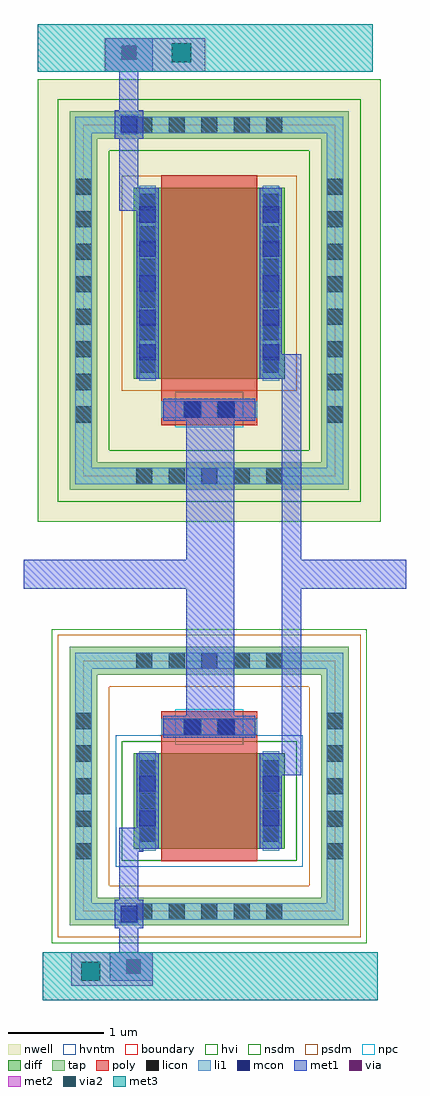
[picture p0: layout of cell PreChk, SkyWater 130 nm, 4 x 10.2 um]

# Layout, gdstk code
import gdstk
lib = gdstk.Library(unit=1e-6, precision=1e-09)
def R(c, l, rs):  # rectangles x0, y0, x1, y1
    for r in rs: c.add(gdstk.rectangle(r[:2], r[2:], *l))
def A(c, l, x, y, w, h, nx, ny, dx, dy):  # array of equal rectangles
    R(c, l, [(x+i*dx, y+j*dy, x+i*dx+w, y+j*dy+h) for i in range(nx) for j in range(ny)])
nwell = (64, 20)
diff = (65, 20)
tap = (65, 44)
poly = (66, 20)
licon = (66, 44)
li1 = (67, 20)
mcon = (67, 44)
met1 = (68, 20)
via = (68, 44)
met2 = (69, 20)
via2 = (69, 44)
met3 = (70, 20)
hvi = (75, 20)
nsdm = (93, 44)
psdm = (94, 20)
npc = (95, 20)
hvntm = (125, 20)
boundary = (235, 4)

sky130_fd_pr__pfet_g5v0d = lib.new_cell('sky130_fd_pr__pfet_g5v0d10v5_3T9SWL')
R(sky130_fd_pr__pfet_g5v0d, nwell, [(-1.79,-2.31,1.79,2.31)])
R(sky130_fd_pr__pfet_g5v0d, diff, [(-0.79,-0.82,0.79,1.18)])
R(sky130_fd_pr__pfet_g5v0d, tap, [(-1.46,-1.98,1.46,-1.69), (-1.46,-1.69,-1.17,1.69), (1.17,-1.69,1.46,1.69), (-1.46,1.69,1.46,1.98)])
R(sky130_fd_pr__pfet_g5v0d, poly, [(-0.5,-1.305,0.5,1.31)])
A(sky130_fd_pr__pfet_g5v0d, licon, -0.765, -1.92, 0.17, 0.17, 5, 2, 0.34, 3.67)
A(sky130_fd_pr__pfet_g5v0d, licon, -1.4, -1.275, 0.17, 0.17, 1, 8, 0, 0.34)
A(sky130_fd_pr__pfet_g5v0d, licon, 1.23, -1.275, 0.17, 0.17, 1, 8, 0, 0.34)
A(sky130_fd_pr__pfet_g5v0d, licon, -0.73, -0.755, 0.17, 0.17, 1, 6, 0, 0.34)
A(sky130_fd_pr__pfet_g5v0d, licon, 0.56, -0.755, 0.17, 0.17, 1, 6, 0, 0.34)
R(sky130_fd_pr__pfet_g5v0d, licon, [(-0.255,-1.225,-0.085,-1.055), (0.085,-1.225,0.255,-1.055)])
R(sky130_fd_pr__pfet_g5v0d, li1, [(-1.4,-1.92,1.4,-1.75), (-1.4,-1.75,-1.23,1.75), (1.23,-1.75,1.4,1.75), (-0.5,-1.225,0.5,-1.055), (-0.73,-0.84,-0.56,1.2), (0.56,-0.84,0.73,1.2), (-1.4,1.75,1.4,1.92)])
A(sky130_fd_pr__pfet_g5v0d, mcon, -0.73, -0.625, 0.17, 0.17, 1, 5, 0, 0.36)
A(sky130_fd_pr__pfet_g5v0d, mcon, 0.56, -0.625, 0.17, 0.17, 1, 5, 0, 0.36)
R(sky130_fd_pr__pfet_g5v0d, mcon, [(-0.265,-1.225,-0.095,-1.055), (0.095,-1.225,0.265,-1.055)])
R(sky130_fd_pr__pfet_g5v0d, met1, [(-0.48,-1.255,0.48,-1.025), (-0.76,-0.82,-0.53,1.18), (0.53,-0.82,0.76,1.18)])
R(sky130_fd_pr__pfet_g5v0d, hvi, [(-1.79,-2.31,1.79,2.31)])
R(sky130_fd_pr__pfet_g5v0d, nsdm, [(-1.585,-2.105,1.585,-1.565), (-1.585,-1.565,-1.045,1.565), (1.045,-1.565,1.585,1.565), (-1.585,1.565,1.585,2.105)])
R(sky130_fd_pr__pfet_g5v0d, psdm, [(-0.915,-0.945,0.915,1.305)])
R(sky130_fd_pr__pfet_g5v0d, npc, [(-0.355,-1.325,0.355,-0.955)])
R(sky130_fd_pr__pfet_g5v0d, boundary, [(-1.315,-1.835,1.315,1.835)])

sky130_fd_pr__nfet_g5v0d = lib.new_cell('sky130_fd_pr__nfet_g5v0d10v5_WCJU4A')
R(sky130_fd_pr__nfet_g5v0d, diff, [(-0.79,-0.655,0.79,0.345)])
R(sky130_fd_pr__nfet_g5v0d, tap, [(-1.46,-1.455,1.46,-1.165), (-1.46,-1.165,-1.17,1.165), (1.17,-1.165,1.46,1.165), (-1.46,1.165,1.46,1.455)])
R(sky130_fd_pr__nfet_g5v0d, poly, [(-0.5,-0.785,0.5,0.785)])
A(sky130_fd_pr__nfet_g5v0d, licon, -0.765, -1.395, 0.17, 0.17, 5, 2, 0.34, 2.62)
A(sky130_fd_pr__nfet_g5v0d, licon, -1.4, -0.765, 0.17, 0.17, 1, 5, 0, 0.34)
A(sky130_fd_pr__nfet_g5v0d, licon, 1.23, -0.765, 0.17, 0.17, 1, 5, 0, 0.34)
A(sky130_fd_pr__nfet_g5v0d, licon, -0.73, -0.58, 0.17, 0.17, 1, 3, 0, 0.34)
A(sky130_fd_pr__nfet_g5v0d, licon, 0.56, -0.58, 0.17, 0.17, 1, 3, 0, 0.34)
R(sky130_fd_pr__nfet_g5v0d, licon, [(-0.255,0.535,-0.085,0.705), (0.085,0.535,0.255,0.705)])
R(sky130_fd_pr__nfet_g5v0d, li1, [(-1.4,-1.395,1.4,-1.225), (-1.4,-1.225,-1.23,1.225), (1.23,-1.225,1.4,1.225), (-0.73,-0.675,-0.56,0.365), (0.56,-0.675,0.73,0.365), (-0.5,0.535,0.5,0.705), (-1.4,1.225,1.4,1.395)])
R(sky130_fd_pr__nfet_g5v0d, mcon, [(-0.73,-0.42,-0.56,-0.25), (0.56,-0.42,0.73,-0.25), (-0.73,-0.06,-0.56,0.11), (0.56,-0.06,0.73,0.11), (-0.265,0.535,-0.095,0.705), (0.095,0.535,0.265,0.705)])
R(sky130_fd_pr__nfet_g5v0d, met1, [(-0.76,-0.655,-0.53,0.345), (0.53,-0.655,0.76,0.345), (-0.48,0.505,0.48,0.735)])
R(sky130_fd_pr__nfet_g5v0d, hvi, [(-1.645,-1.64,1.645,1.64)])
R(sky130_fd_pr__nfet_g5v0d, nsdm, [(-0.915,-0.78,0.915,0.47)])
R(sky130_fd_pr__nfet_g5v0d, psdm, [(-1.585,-1.58,1.585,-1.04), (-1.585,-1.04,-1.045,1.04), (1.045,-1.04,1.585,1.04), (-1.585,1.04,1.585,1.58)])
R(sky130_fd_pr__nfet_g5v0d, npc, [(-0.355,0.435,0.355,0.805)])
R(sky130_fd_pr__nfet_g5v0d, hvntm, [(-0.975,-0.84,0.975,0.53)])
R(sky130_fd_pr__nfet_g5v0d, boundary, [(-1.315,-1.31,1.315,1.31)])

prechk = lib.new_cell('PreChk')
R(prechk, nwell, [(0.65,2.95,0.95,3.15)])
R(prechk, li1, [(-0.9,-4.45,-0.7,-4.25), (-0.9,3.8,-0.7,4)])
R(prechk, mcon, [(-0.885,-4.435,-0.715,-4.265), (-0.885,3.815,-0.715,3.985)])
R(prechk, met1, [(-1,-5.05,-0.55,-4.75), (-0.9,-4.75,-0.7,-4.5), (-0.95,-4.5,-0.65,-4.2), (-0.9,-4.2,-0.7,-3.7), (-0.9,-3.7,-0.65,-3.45), (0.65,-2.9,1,-2.7), (0.8,-2.7,1,-0.95), (-0.2,-2.4,0.3,-0.95), (-1.9,-0.95,0.3,-0.65), (0.8,-0.95,2.1,-0.65), (-0.2,-0.65,0.3,0.95), (0.8,-0.65,1,1.3), (0.65,1.3,1,1.5), (-0.9,3,-0.65,3.2), (-0.9,3.2,-0.7,3.75), (-0.95,3.75,-0.65,4.05), (-0.9,4.05,-0.7,4.45), (-1.05,4.45,-0.55,4.8)])
R(prechk, via, [(-0.825,-4.975,-0.675,-4.825), (-0.875,4.575,-0.725,4.725)])
R(prechk, met2, [(-1.4,-5.1,-0.55,-4.75), (-1.05,4.45,0,4.8)])
R(prechk, via2, [(-1.3,-5.05,-1.1,-4.85), (-0.35,4.55,-0.15,4.75)])
R(prechk, met3, [(-1.7,-5.25,1.8,-4.75), (-1.75,4.45,1.75,4.95)])
prechk.add(gdstk.Reference(sky130_fd_pr__pfet_g5v0d, (0.04,2.06)))
prechk.add(gdstk.Reference(sky130_fd_pr__nfet_g5v0d, (0.04,-3.015)))

lib.write_gds('PreChk.gds')
